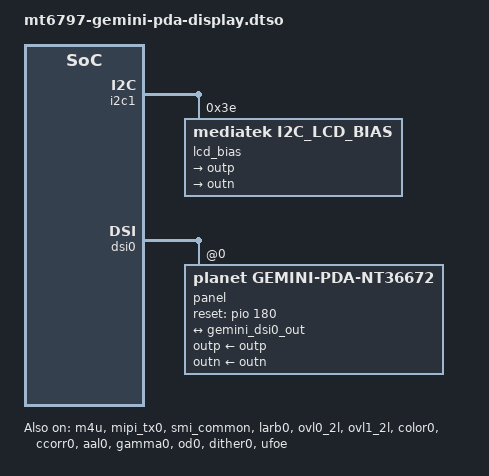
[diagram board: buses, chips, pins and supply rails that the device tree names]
// SPDX-License-Identifier: GPL-2.0-only
/*
 * Planet Computers Gemini PDA native display preparation overlay.
 *
 * This is safe to compose at boot with mt6797-gemini-pda.dtb: that board DT
 * sets mediatek,drm-on-demand on MMSYS, so this overlay makes resources and
 * components available but cannot start a panel modeset. Stage1 must first
 * establish watchdog service and then write 1 to MMSYS activate_drm. This is
 * a one-way bring-up boundary, not a permanent display disable switch.
 *
 * The graph avoids the legacy MT6797 fallback path, whose OVL0 -> OVL0_2L
 * hop is not routable. The documented hardware path is instead:
 * OVL0_2L -> OVL1_2L -> COLOR0 -> CCORR -> AAL -> GAMMA -> OD -> DITHER ->
 * RDMA0 -> UFOE -> DSI0 -> NT36672E panel.
 */

/dts-v1/;
/plugin/;

#include <dt-bindings/gpio/gpio.h>

&i2c1 {
	#address-cells = <1>;
	#size-cells = <0>;
	pinctrl-names = "default";
	pinctrl-0 = <&i2c1_pins_a>;
	status = "okay";

	lcd_bias: regulator@3e {
		compatible = "mediatek,i2c_lcd_bias";
		reg = <0x3e>;
		outp: outp { regulator-name = "outp"; enable-gpios = <&pio 60 GPIO_ACTIVE_HIGH>; };
		outn: outn { regulator-name = "outn"; enable-gpios = <&pio 251 GPIO_ACTIVE_HIGH>; };
	};
};

/* DMA-capable display blocks cannot be useful until their M4U path exists. */
&m4u { status = "okay"; };
&mipi_tx0 { status = "okay"; };
&smi_common { status = "okay"; };
&larb0 { status = "okay"; };

&mmsys {
	port {
		#address-cells = <1>;
		#size-cells = <0>;
		gemini_mmsys_out: endpoint@0 {
			reg = <0>;
			remote-endpoint = <&gemini_ovl0_2l_in>;
		};
	};
};

&ovl0_2l {
	status = "okay";
	ports {
		#address-cells = <1>;
		#size-cells = <0>;
		port@0 { #address-cells = <1>; #size-cells = <0>; reg = <0>; gemini_ovl0_2l_in: endpoint@0 { reg = <0>; remote-endpoint = <&gemini_mmsys_out>; }; };
		port@1 { #address-cells = <1>; #size-cells = <0>; reg = <1>; gemini_ovl0_2l_out: endpoint@0 { reg = <0>; remote-endpoint = <&gemini_ovl1_2l_in>; }; };
	};
};

&ovl1_2l {
	status = "okay";
	ports {
		#address-cells = <1>;
		#size-cells = <0>;
		port@0 { #address-cells = <1>; #size-cells = <0>; reg = <0>; gemini_ovl1_2l_in: endpoint@0 { reg = <0>; remote-endpoint = <&gemini_ovl0_2l_out>; }; };
		port@1 { #address-cells = <1>; #size-cells = <0>; reg = <1>; gemini_ovl1_2l_out: endpoint@0 { reg = <0>; remote-endpoint = <&gemini_color0_in>; }; };
	};
};

&color0 {
	status = "okay";
	ports {
		#address-cells = <1>;
		#size-cells = <0>;
		port@0 { #address-cells = <1>; #size-cells = <0>; reg = <0>; gemini_color0_in: endpoint@0 { reg = <0>; remote-endpoint = <&gemini_ovl1_2l_out>; }; };
		port@1 { #address-cells = <1>; #size-cells = <0>; reg = <1>; gemini_color0_out: endpoint@0 { reg = <0>; remote-endpoint = <&gemini_ccorr0_in>; }; };
	};
};

&ccorr0 {
	status = "okay";
	ports {
		#address-cells = <1>;
		#size-cells = <0>;
		port@0 { #address-cells = <1>; #size-cells = <0>; reg = <0>; gemini_ccorr0_in: endpoint@0 { reg = <0>; remote-endpoint = <&gemini_color0_out>; }; };
		port@1 { #address-cells = <1>; #size-cells = <0>; reg = <1>; gemini_ccorr0_out: endpoint@0 { reg = <0>; remote-endpoint = <&gemini_aal0_in>; }; };
	};
};

&aal0 {
	status = "okay";
	ports {
		#address-cells = <1>;
		#size-cells = <0>;
		port@0 { #address-cells = <1>; #size-cells = <0>; reg = <0>; gemini_aal0_in: endpoint@0 { reg = <0>; remote-endpoint = <&gemini_ccorr0_out>; }; };
		port@1 { #address-cells = <1>; #size-cells = <0>; reg = <1>; gemini_aal0_out: endpoint@0 { reg = <0>; remote-endpoint = <&gemini_gamma0_in>; }; };
	};
};

&gamma0 {
	status = "okay";
	ports {
		#address-cells = <1>;
		#size-cells = <0>;
		port@0 { #address-cells = <1>; #size-cells = <0>; reg = <0>; gemini_gamma0_in: endpoint@0 { reg = <0>; remote-endpoint = <&gemini_aal0_out>; }; };
		port@1 { #address-cells = <1>; #size-cells = <0>; reg = <1>; gemini_gamma0_out: endpoint@0 { reg = <0>; remote-endpoint = <&gemini_od0_in>; }; };
	};
};

&od0 {
	status = "okay";
	ports {
		#address-cells = <1>;
		#size-cells = <0>;
		port@0 { #address-cells = <1>; #size-cells = <0>; reg = <0>; gemini_od0_in: endpoint@0 { reg = <0>; remote-endpoint = <&gemini_gamma0_out>; }; };
		port@1 { #address-cells = <1>; #size-cells = <0>; reg = <1>; gemini_od0_out: endpoint@0 { reg = <0>; remote-endpoint = <&gemini_dither0_in>; }; };
	};
};

&dither0 {
	status = "okay";
	ports {
		#address-cells = <1>;
		#size-cells = <0>;
		port@0 { #address-cells = <1>; #size-cells = <0>; reg = <0>; gemini_dither0_in: endpoint@0 { reg = <0>; remote-endpoint = <&gemini_od0_out>; }; };
		port@1 { #address-cells = <1>; #size-cells = <0>; reg = <1>; gemini_dither0_out: endpoint@0 { reg = <0>; remote-endpoint = <&gemini_rdma0_in>; }; };
	};
};

&rdma0 {
	status = "okay";
	ports {
		#address-cells = <1>;
		#size-cells = <0>;
		port@0 { #address-cells = <1>; #size-cells = <0>; reg = <0>; gemini_rdma0_in: endpoint@0 { reg = <0>; remote-endpoint = <&gemini_dither0_out>; }; };
		port@1 { #address-cells = <1>; #size-cells = <0>; reg = <1>; gemini_rdma0_out: endpoint@0 { reg = <0>; remote-endpoint = <&gemini_ufoe_in>; }; };
	};
};

&ufoe {
	status = "okay";
	ports {
		#address-cells = <1>;
		#size-cells = <0>;
		port@0 { #address-cells = <1>; #size-cells = <0>; reg = <0>; gemini_ufoe_in: endpoint@0 { reg = <0>; remote-endpoint = <&gemini_rdma0_out>; }; };
		port@1 { #address-cells = <1>; #size-cells = <0>; reg = <1>; gemini_ufoe_out: endpoint@0 { reg = <0>; remote-endpoint = <&gemini_dsi0_in>; }; };
	};
};

&dsi0 {
	#address-cells = <1>;
	#size-cells = <0>;
	status = "okay";

	panel@0 {
		compatible = "planet,gemini-pda-nt36672";
		reg = <0>;
		outp-supply = <&outp>;
		outn-supply = <&outn>;
		/* Vendor aeon6797_6m_n.dts identifies GPIO180 as LCM_RST. */
		reset-gpios = <&pio 180 GPIO_ACTIVE_HIGH>;
		port { gemini_panel_in: endpoint { remote-endpoint = <&gemini_dsi0_out>; }; };
	};
};

&dsi0_in {
	#address-cells = <1>;
	#size-cells = <0>;
	gemini_dsi0_in: endpoint@0 {
		reg = <0>;
		remote-endpoint = <&gemini_ufoe_out>;
	};
};

&dsi0_out {
	#address-cells = <1>;
	#size-cells = <0>;
	gemini_dsi0_out: endpoint@0 {
		reg = <0>;
		remote-endpoint = <&gemini_panel_in>;
	};
};
